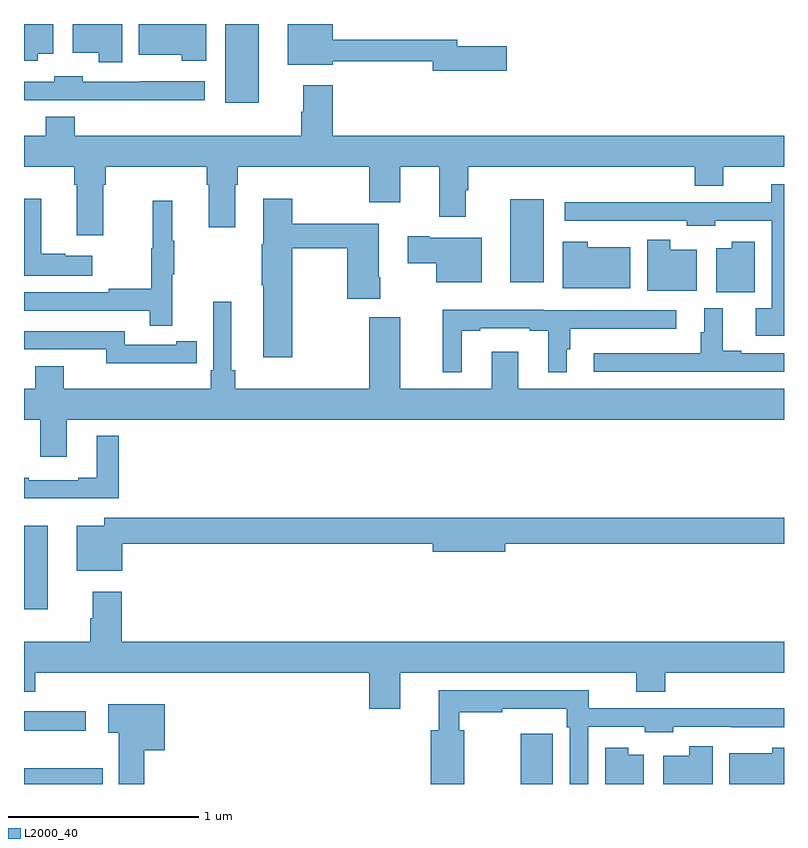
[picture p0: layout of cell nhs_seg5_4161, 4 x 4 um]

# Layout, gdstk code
import gdstk
lib = gdstk.Library(unit=1e-6, precision=1e-09)
def R(c, l, rs):  # rectangles x0, y0, x1, y1
    for r in rs: c.add(gdstk.rectangle(r[:2], r[2:], *l))
def P(c, l, *ps):  # polygons
    for p in ps: c.add(gdstk.Polygon(p, *l))
L2000_40 = (2000, 40)

nhs_seg5_4161 = lib.new_cell('nhs_seg5_4161')
R(nhs_seg5_4161, L2000_40, [(355,898.799,355.414,898.883), (355,899.078,355.324,899.182), (355,899.72,355.126,900.157), (357.56,901.439,357.736,901.876), (356.06,902.384,356.236,902.799)])
P(nhs_seg5_4161, L2000_40, [(355.072,902.642),(355.153,902.642),(355.153,902.799),(355,902.799),(355,902.606),(355.072,902.606)],
  [(355.96,902.799),(355.604,902.799),(355.604,902.636),(355.831,902.636),(355.831,902.606),(355.96,902.606)],
  [(357.541,902.683),(357.28,902.683),(357.28,902.715),(356.626,902.715),(356.626,902.799),(356.387,902.799),(356.387,902.585),(356.626,902.585),(356.626,902.604),(357.152,902.604),(357.152,902.554),(357.541,902.554)],
  [(355.516,902.799),(355.256,902.799),(355.256,902.648),(355.394,902.648),(355.394,902.598),(355.516,902.598)],
  [(355.951,902.497),(355.612,902.497),(355.612,902.496),(355.308,902.496),(355.308,902.524),(355.158,902.524),(355.158,902.496),(355,902.496),(355,902.399),(355.951,902.399)],
  [(355.417,901.952),(355.43,901.952),(355.43,902.048),(355.961,902.048),(355.961,901.952),(355.973,901.952),(355.973,901.728),(356.113,901.728),(356.113,901.952),(356.126,901.952),(356.126,902.048),(356.816,902.048),(356.816,901.86),(356.98,901.86),(356.98,902.048),(357.185,902.048),(357.185,901.785),(357.325,901.785),(357.325,901.925),(357.338,901.925),(357.338,902.048),(358.529,902.048),(358.529,901.949),(358.681,901.949),(358.681,902.048),(359,902.048),(359,902.212),(356.624,902.212),(356.624,902.476),(356.471,902.476),(356.471,902.336),(356.459,902.336),(356.459,902.212),(355.268,902.212),(355.268,902.311),(355.115,902.311),(355.115,902.212),(355,902.212),(355,902.048),(355.265,902.048),(355.265,901.952),(355.277,901.952),(355.277,901.686),(355.417,901.686)],
  [(359,901.956),(358.933,901.956),(358.933,901.862),(357.846,901.862),(357.846,901.763),(358.184,901.763),(358.184,901.764),(358.488,901.764),(358.488,901.736),(358.638,901.736),(358.638,901.764),(358.935,901.764),(358.935,901.303),(358.851,901.303),(358.851,901.157),(359,901.157)],
  [(356.412,901.618),(356.701,901.618),(356.701,901.353),(356.874,901.353),(356.874,901.465),(356.866,901.465),(356.866,901.747),(356.412,901.747),(356.412,901.879),(356.258,901.879),(356.258,901.641),(356.251,901.641),(356.251,901.423),(356.258,901.423),(356.258,901.044),(356.412,901.044)],
  [(355.36,901.579),(355.217,901.579),(355.217,901.589),(355.09,901.589),(355.09,901.879),(355,901.879),(355,901.475),(355.36,901.475)],
  [(355.781,901.483),(355.792,901.483),(355.792,901.657),(355.781,901.657),(355.781,901.87),(355.678,901.87),(355.678,901.62),(355.671,901.62),(355.671,901.406),(355.447,901.406),(355.447,901.386),(355,901.386),(355,901.29),(355.663,901.29),(355.663,901.212),(355.781,901.212)],
  [(357.409,901.675),(357.133,901.675),(357.133,901.683),(357.021,901.683),(357.021,901.541),(357.17,901.541),(357.17,901.439),(357.409,901.439)],
  [(358.54,901.612),(358.402,901.612),(358.402,901.663),(358.28,901.663),(358.28,901.394),(358.54,901.394)],
  [(358.846,901.654),(358.724,901.654),(358.724,901.618),(358.643,901.618),(358.643,901.388),(358.846,901.388)],
  [(358.192,901.624),(357.966,901.624),(357.966,901.654),(357.836,901.654),(357.836,901.409),(358.192,901.409)],
  [(355.225,900.716),(359,900.716),(359,900.88),(357.601,900.88),(357.601,901.075),(357.461,901.075),(357.461,900.88),(356.98,900.88),(356.98,901.255),(356.816,901.255),(356.816,900.88),(356.111,900.88),(356.111,900.976),(356.092,900.976),(356.092,901.336),(355.995,901.336),(355.995,900.976),(355.982,900.976),(355.982,900.88),(355.21,900.88),(355.21,900.997),(355.058,900.997),(355.058,900.88),(355,900.88),(355,900.716),(355.085,900.716),(355.085,900.522),(355.225,900.522)],
  [(359,901.065),(358.774,901.065),(358.774,901.078),(358.678,901.078),(358.678,901.303),(358.58,901.303),(358.58,901.176),(358.561,901.176),(358.561,901.066),(357.999,901.066),(357.999,900.969),(359,900.969)],
  [(357.304,901.185),(357.4,901.185),(357.4,901.197),(357.662,901.197),(357.662,901.185),(357.758,901.185),(357.758,900.965),(357.856,900.965),(357.856,901.086),(357.875,901.086),(357.875,901.196),(358.432,901.196),(358.432,901.293),(357.732,901.293),(357.732,901.294),(357.205,901.294),(357.205,900.965),(357.304,900.965)],
  [(355.802,901.014),(355.91,901.014),(355.91,901.13),(355.802,901.13),(355.802,901.11),(355.53,901.11),(355.53,901.182),(355,901.182),(355,901.086),(355.434,901.086),(355.434,901.013),(355.802,901.013)],
  [(355.499,900.631),(355.382,900.631),(355.382,900.412),(355.286,900.412),(355.286,900.399),(355.024,900.399),(355.024,900.412),(355,900.412),(355,900.302),(355.499,900.302)],
  [(355.516,900.064),(357.152,900.064),(357.152,900.022),(357.532,900.022),(357.532,900.064),(359,900.064),(359,900.2),(355.422,900.2),(355.422,900.157),(355.277,900.157),(355.277,899.921),(355.516,899.921)],
  [(356.98,899.384),(358.223,899.384),(358.223,899.285),(358.376,899.285),(358.376,899.384),(359,899.384),(359,899.548),(355.514,899.548),(355.514,899.812),(355.361,899.812),(355.361,899.672),(355.349,899.672),(355.349,899.548),(355,899.548),(355,899.285),(355.058,899.285),(355.058,899.384),(356.816,899.384),(356.816,899.196),(356.98,899.196)],
  [(357.318,899.083),(357.292,899.083),(357.292,899.176),(357.518,899.176),(357.518,899.195),(357.857,899.195),(357.857,899.099),(357.873,899.099),(357.873,898.799),(357.969,898.799),(357.969,899.1),(358.266,899.1),(358.266,899.072),(358.416,899.072),(358.416,899.1),(358.72,899.1),(358.72,899.099),(359,899.099),(359,899.198),(357.972,899.198),(357.972,899.292),(357.182,899.292),(357.182,899.083),(357.14,899.083),(357.14,898.799),(357.318,898.799)],
  [(355.634,898.976),(355.741,898.976),(355.741,899.218),(355.443,899.218),(355.443,899.069),(355.499,899.069),(355.499,898.799),(355.634,898.799)],
  [(357.784,898.961),(357.783,898.961),(357.783,899.064),(357.614,899.064),(357.614,898.799),(357.784,898.799)],
  [(358.624,898.999),(358.502,898.999),(358.502,898.948),(358.364,898.948),(358.364,898.799),(358.624,898.799)],
  [(359,898.99),(358.939,898.99),(358.939,898.96),(358.712,898.96),(358.712,898.799),(359,898.799)],
  [(358.261,898.954),(358.18,898.954),(358.18,898.99),(358.058,898.99),(358.058,898.799),(358.261,898.799)])

lib.write_gds('nhs_seg5_4161.gds')
